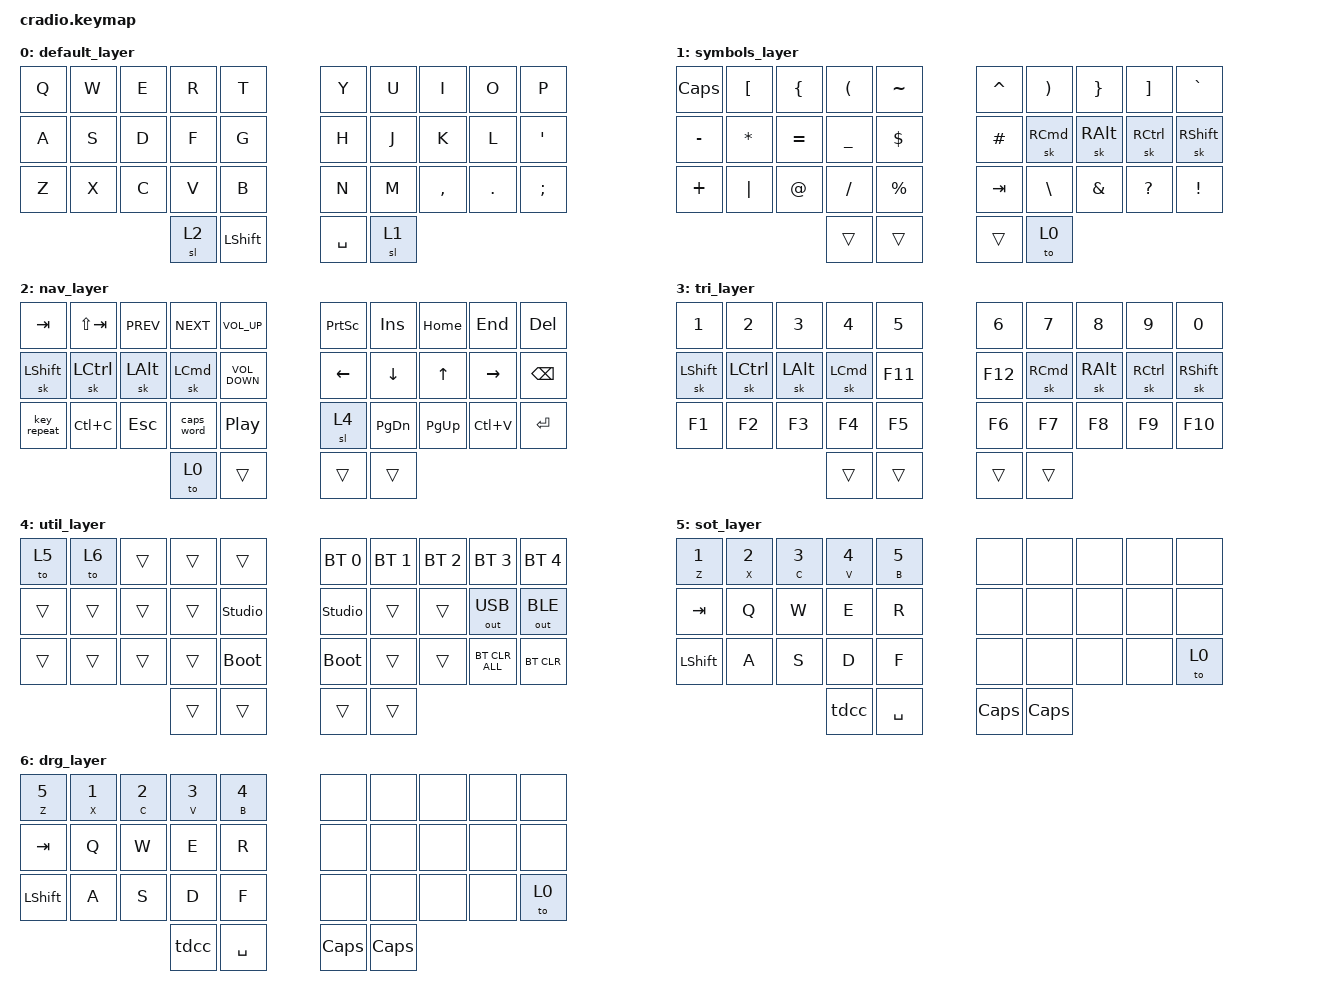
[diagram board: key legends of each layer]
// Copyright (c) 2022 The ZMK Contributors
// SPDX-License-Identifier: MIT

#include <behaviors.dtsi>
#include <dt-bindings/zmk/bt.h>
#include <dt-bindings/zmk/keys.h>
#include <dt-bindings/zmk/outputs.h>

/ {
    behaviors {
        ht: hold_tap {
            compatible = "zmk,behavior-hold-tap";
            #binding-cells = <2>;
            flavor = "tap-preferred";
            tapping-term-ms = <220>;
            quick-tap-ms = <150>;
            require-prior-idle-ms = <100>;
            bindings = <&kp>, <&kp>;
        };

        tdcc: tap_dance_lctrl_caps {
            compatible = "zmk,behavior-tap-dance";
            #binding-cells = <0>;
            tapping-term-ms = <200>;
            bindings = <&kp LCTRL>, <&kp CAPS>;
        };
    };

    combos {
        compatible = "zmk,combos";

        esc_combo {
            bindings = <&kp CAPSLOCK>;
            key-positions = <12 17>;
        };

        enter_combo {
            bindings = <&kp ENTER>;
            key-positions = <13 16>;
        };

        tmux_combo {
            bindings = <&kp LC(SPACE)>;
            key-positions = <31 32>;
        };

        meta_combo {
            bindings = <&kp LEFT_META>;
            key-positions = <22 23>;
            layers = <0>;
        };

        ctrl_combo {
            bindings = <&kp LCTRL>;
            key-positions = <21 20>;
            layers = <0>;
        };
    };

    conditional_layers {
        compatible = "zmk,conditional-layers";

        tri_layer {
            if-layers = <1 2>;
            then-layer = <3>;
        };
    };

    keymap {
        compatible = "zmk,keymap";

        default_layer {
            bindings = <
&kp Q  &kp W  &kp E  &kp R  &kp T             &kp Y      &kp U  &kp I      &kp O    &kp P
&kp A  &kp S  &kp D  &kp F  &kp G             &kp H      &kp J  &kp K      &kp L    &kp SQT
&kp Z  &kp X  &kp C  &kp V  &kp B             &kp N      &kp M  &kp COMMA  &kp DOT  &kp SEMI
                     &sl 2  &kp LEFT_SHIFT    &kp SPACE  &sl 1
            >;
        };

        symbols_layer {
            bindings = <
&kp CAPS   &kp LBKT   &kp LBRC   &kp LPAR   &kp TILDE    &kp CARET  &kp RPAR  &kp RBRC  &kp RBKT   &kp GRAVE
&kp MINUS  &kp ASTRK  &kp EQUAL  &kp UNDER  &kp DLLR     &kp HASH   &sk RCMD  &sk RALT  &sk RCTRL  &sk RSHIFT
&kp PLUS   &kp PIPE   &kp AT     &kp FSLH   &kp PRCNT    &kp TAB    &kp BSLH  &kp AMPS  &kp QMARK  &kp EXCL
                                 &trans     &trans       &trans     &to 0
            >;
        };

        nav_layer {
            bindings = <
&kp TAB      &kp LS(TAB)  &kp C_PREV  &kp C_NEXT  &kp C_VOLUME_UP      &kp PRINTSCREEN  &kp INSERT     &kp HOME     &kp END    &kp DEL
&sk LSHIFT   &sk LCTRL    &sk LALT    &sk LCMD    &kp C_VOLUME_DOWN    &kp LEFT         &kp DOWN       &kp UP       &kp RIGHT  &kp BSPC
&key_repeat  &kp LC(C)    &kp ESCAPE  &caps_word  &kp C_PLAY_PAUSE     &sl 4            &kp PAGE_DOWN  &kp PAGE_UP  &kp LC(V)  &kp ENTER
                                      &to 0       &trans               &trans           &trans
            >;
        };

        tri_layer {
            bindings = <
&kp N1      &kp N2     &kp N3    &kp N4    &kp N5     &kp N6   &kp N7    &kp N8    &kp N9     &kp N0
&sk LSHIFT  &sk LCTRL  &sk LALT  &sk LCMD  &kp F11    &kp F12  &sk RCMD  &sk RALT  &sk RCTRL  &sk RSHIFT
&kp F1      &kp F2     &kp F3    &kp F4    &kp F5     &kp F6   &kp F7    &kp F8    &kp F9     &kp F10
                                 &trans    &trans     &trans   &trans
            >;
        };

        util_layer {
            bindings = <
&to 5   &to 6   &trans  &trans  &trans            &bt BT_SEL 0    &bt BT_SEL 1  &bt BT_SEL 2  &bt BT_SEL 3    &bt BT_SEL 4
&trans  &trans  &trans  &trans  &studio_unlock    &studio_unlock  &trans        &trans        &out OUT_USB    &out OUT_BLE
&trans  &trans  &trans  &trans  &bootloader       &bootloader     &trans        &trans        &bt BT_CLR_ALL  &bt BT_CLR
                        &trans  &trans            &trans          &trans
            >;
        };

        sot_layer {
            bindings = <
&ht Z N1   &ht X N2  &ht C N3  &ht V N4  &ht B N5     &none     &none     &none  &none  &none
&kp TAB    &kp Q     &kp W     &kp E     &kp R        &none     &none     &none  &none  &none
&kp LSHFT  &kp A     &kp S     &kp D     &kp F        &none     &none     &none  &none  &to 0
                               &tdcc     &kp SPACE    &kp CAPS  &kp CAPS
            >;
        };

        drg_layer {
            bindings = <
&ht Z N5   &ht X N1  &ht C N2  &ht V N3  &ht B N4     &none     &none     &none  &none  &none
&kp TAB    &kp Q     &kp W     &kp E     &kp R        &none     &none     &none  &none  &none
&kp LSHFT  &kp A     &kp S     &kp D     &kp F        &none     &none     &none  &none  &to 0
                               &tdcc     &kp SPACE    &kp CAPS  &kp CAPS
            >;
        };
    };
};
